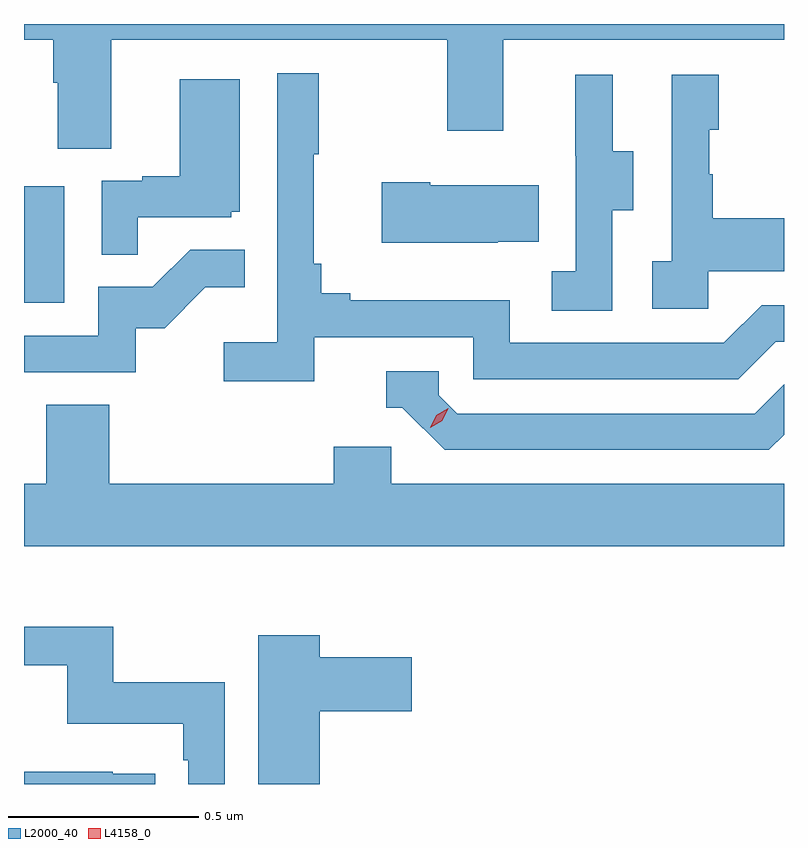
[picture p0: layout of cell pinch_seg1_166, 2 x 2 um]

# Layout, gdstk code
import gdstk
lib = gdstk.Library(unit=1e-6, precision=1e-09)
def R(c, l, rs):  # rectangles x0, y0, x1, y1
    for r in rs: c.add(gdstk.rectangle(r[:2], r[2:], *l))
def P(c, l, *ps):  # polygons
    for p in ps: c.add(gdstk.Polygon(p, *l))
L2000_40 = (2000, 40)
L4158_0 = (4158, 0)

pinch_seg1_166 = lib.new_cell('pinch_seg1_166')
R(pinch_seg1_166, L2000_40, [(1109.1,557.7,1109.206,558.007)])
P(pinch_seg1_166, L2000_40, [(1109.329,558.392),(1110.214,558.392),(1110.214,558.153),(1110.361,558.153),(1110.361,558.392),(1111.1,558.392),(1111.1,558.434),(1109.1,558.434),(1109.1,558.392),(1109.177,558.392),(1109.177,558.28),(1109.189,558.28),(1109.189,558.106),(1109.329,558.106)],
  [(1109.864,557.61),(1110.282,557.61),(1110.282,557.499),(1110.979,557.499),(1111.078,557.598),(1111.1,557.598),(1111.1,557.694),(1111.041,557.694),(1110.942,557.595),(1110.378,557.595),(1110.378,557.707),(1109.959,557.707),(1109.959,557.726),(1109.882,557.726),(1109.882,557.803),(1109.863,557.803),(1109.863,558.091),(1109.875,558.091),(1109.875,558.304),(1109.766,558.304),(1109.766,557.596),(1109.625,557.596),(1109.625,557.494),(1109.864,557.494)],
  [(1110.9,557.783),(1111.1,557.783),(1111.1,557.923),(1110.913,557.923),(1110.913,558.038),(1110.903,558.038),(1110.903,558.156),(1110.928,558.156),(1110.928,558.301),(1110.804,558.301),(1110.804,557.81),(1110.753,557.81),(1110.753,557.685),(1110.9,557.685)],
  [(1110.648,557.944),(1110.703,557.944),(1110.703,558.099),(1110.649,558.099),(1110.649,558.301),(1110.551,558.301),(1110.551,558.087),(1110.552,558.087),(1110.552,557.783),(1110.489,557.783),(1110.489,557.68),(1110.648,557.68)],
  [(1109.399,557.925),(1109.646,557.925),(1109.646,557.94),(1109.668,557.94),(1109.668,558.289),(1109.51,558.289),(1109.51,558.034),(1109.411,558.034),(1109.411,558.021),(1109.304,558.021),(1109.304,557.827),(1109.399,557.827)],
  [(1110.347,557.861),(1110.455,557.861),(1110.455,558.01),(1110.169,558.01),(1110.169,558.018),(1110.041,558.018),(1110.041,557.858),(1110.347,557.858)],
  [(1109.394,557.634),(1109.47,557.634),(1109.577,557.741),(1109.681,557.741),(1109.681,557.84),(1109.537,557.84),(1109.439,557.742),(1109.295,557.742),(1109.295,557.613),(1109.1,557.613),(1109.1,557.517),(1109.394,557.517)],
  [(1111.1,557.353),(1111.1,557.486),(1111.023,557.409),(1110.24,557.409),(1110.192,557.457),(1110.192,557.52),(1110.053,557.52),(1110.053,557.424),(1110.096,557.424),(1110.207,557.313),(1111.06,557.313)],
  [(1111.1,557.224),(1110.066,557.224),(1110.066,557.322),(1109.915,557.322),(1109.915,557.224),(1109.324,557.224),(1109.324,557.432),(1109.159,557.432),(1109.159,557.224),(1109.1,557.224),(1109.1,557.06),(1111.1,557.06)],
  [(1109.628,556.702),(1109.335,556.702),(1109.335,556.848),(1109.1,556.848),(1109.1,556.747),(1109.214,556.747),(1109.214,556.592),(1109.519,556.592),(1109.519,556.496),(1109.532,556.496),(1109.532,556.434),(1109.628,556.434)],
  [(1109.878,556.625),(1110.121,556.625),(1110.121,556.767),(1109.878,556.767),(1109.878,556.825),(1109.717,556.825),(1109.717,556.434),(1109.878,556.434)],
  [(1109.446,556.461),(1109.333,556.461),(1109.333,556.466),(1109.1,556.466),(1109.1,556.434),(1109.446,556.434)])
P(pinch_seg1_166, L4158_0, [(1110.169,557.371),(1110.169,557.371),(1110.185,557.404),(1110.216,557.423),(1110.216,557.423),(1110.216,557.423),(1110.2,557.39),(1110.169,557.371)])

lib.write_gds('pinch_seg1_166.gds')
